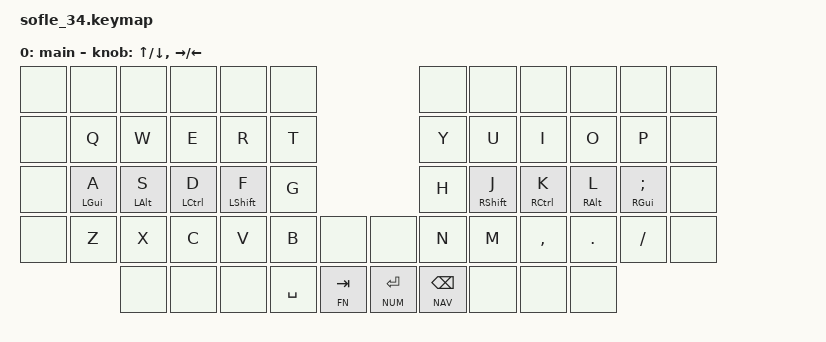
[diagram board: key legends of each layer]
#include <behaviors.dtsi>
#include <dt-bindings/zmk/bt.h>
#include <dt-bindings/zmk/keys.h>
#include <dt-bindings/zmk/ext_power.h>
#include <dt-bindings/zmk/rgb.h>
#include <dt-bindings/zmk/outputs.h>

#include "layers/sofle/names.h"
#include "layouts/sofle.h"
#include "settings/timings.h"

#include "settings/overrides.dtsi"
#include "settings/sofle.dtsi"

#include "custom/hrm.dtsi"
#include "custom/mod_morphs.dtsi"
#include "custom/combos.dtsi"

/ {
    keymap {
        compatible = "zmk,keymap";

        base {
            display-name = "main";
            bindings = <
&none          &none          &none           &none       &none          &none                                          &none        &none          &none         &none         &none             &none
&none          &kp Q          &kp W         &kp E         &kp R          &kp T                                          &kp Y        &kp U          &kp I         &kp O         &kp P             &none
&none          &hml LGUI A    &hml LALT S   &hml LCTRL D  &hml LSHFT F   &kp G                                          &kp H        &hmr RSHFT J   &hmr RCTRL K  &hmr RALT L   &hmr RGUI SEMI    &none
&none          &kp Z          &kp X         &kp C         &kp V          &kp B             &none          &none         &kp N        &kp M          &kp COMMA     &kp DOT       &kp FSLH          &none
                              &none         &none         &none          &kp SPACE         &lt FN TAB     &lt NUM RET   &lt NAV BSPC &none          &none         &none  
            >;

            sensor-bindings = <&inc_dec_kp UP DOWN &inc_dec_kp RIGHT LEFT >;
        };
    };
};

#include "layers/sofle/hub.dtsi"
#include "layers/sofle/num.dtsi"
#include "layers/sofle/nav.dtsi"
#include "layers/sofle/uni.dtsi"
#include "layers/sofle/fn.dtsi"
#include "layers/sofle/sys.dtsi"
